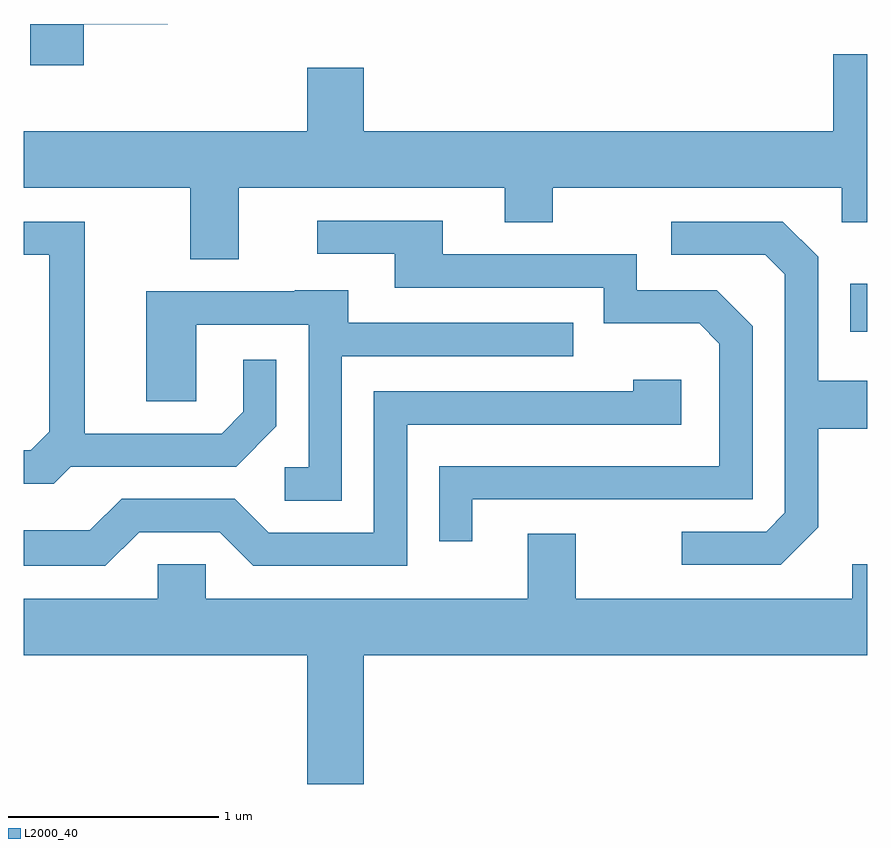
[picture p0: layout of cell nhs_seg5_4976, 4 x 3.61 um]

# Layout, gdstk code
import gdstk
lib = gdstk.Library(unit=1e-6, precision=1e-09)
def R(c, l, rs):  # rectangles x0, y0, x1, y1
    for r in rs: c.add(gdstk.rectangle(r[:2], r[2:], *l))
def P(c, l, *ps):  # polygons
    for p in ps: c.add(gdstk.Polygon(p, *l))
L2000_40 = (2000, 40)

nhs_seg5_4976 = lib.new_cell('nhs_seg5_4976')
R(nhs_seg5_4976, L2000_40, [(337.531,1400.611,337.611,1400.839)])
P(nhs_seg5_4976, L2000_40, [(333.894,1402.071),(334.294,1402.071),(334.294,1402.072),(333.641,1402.072),(333.641,1401.876),(333.894,1401.876)],
  [(334.629,1401.296),(335.891,1401.296),(335.891,1401.131),(336.119,1401.131),(336.119,1401.296),(337.491,1401.296),(337.491,1401.131),(337.611,1401.131),(337.611,1401.928),(337.451,1401.928),(337.451,1401.564),(335.224,1401.564),(335.224,1401.864),(334.956,1401.864),(334.956,1401.564),(333.611,1401.564),(333.611,1401.296),(334.401,1401.296),(334.401,1400.956),(334.629,1400.956)],
  [(335.739,1399.816),(337.069,1399.816),(337.069,1400.637),(336.897,1400.809),(336.519,1400.809),(336.519,1400.979),(335.599,1400.979),(335.599,1401.139),(335.003,1401.139),(335.003,1400.981),(335.371,1400.981),(335.371,1400.821),(336.361,1400.821),(336.361,1400.651),(336.814,1400.651),(336.911,1400.554),(336.911,1399.974),(335.581,1399.974),(335.581,1399.618),(335.739,1399.618)],
  [(333.832,1399.971),(334.617,1399.971),(334.809,1400.164),(334.809,1400.478),(334.651,1400.478),(334.651,1400.232),(334.549,1400.129),(333.899,1400.129),(333.899,1401.134),(333.611,1401.134),(333.611,1400.976),(333.731,1400.976),(333.731,1400.137),(333.644,1400.049),(333.611,1400.049),(333.611,1399.891),(333.752,1399.891)],
  [(337.379,1399.684),(337.379,1400.151),(337.611,1400.151),(337.611,1400.379),(337.379,1400.379),(337.379,1400.967),(337.212,1401.134),(336.683,1401.134),(336.683,1400.976),(337.129,1400.976),(337.221,1400.884),(337.221,1399.752),(337.134,1399.664),(336.733,1399.664),(336.733,1399.506),(337.202,1399.506)],
  [(335.119,1400.496),(336.218,1400.496),(336.218,1400.654),(335.149,1400.654),(335.149,1400.809),(334.895,1400.809),(334.895,1400.804),(334.191,1400.804),(334.191,1400.281),(334.429,1400.281),(334.429,1400.646),(334.961,1400.646),(334.961,1399.969),(334.848,1399.969),(334.848,1399.811),(335.119,1399.811)],
  [(334.157,1399.661),(334.539,1399.661),(334.699,1399.501),(335.429,1399.501),(335.429,1400.171),(336.729,1400.171),(336.729,1400.384),(336.501,1400.384),(336.501,1400.329),(335.271,1400.329),(335.271,1399.659),(334.772,1399.659),(334.612,1399.819),(334.074,1399.819),(333.924,1399.669),(333.611,1399.669),(333.611,1399.501),(333.997,1399.501)],
  [(335.224,1399.076),(337.611,1399.076),(337.611,1399.509),(337.541,1399.509),(337.541,1399.344),(336.229,1399.344),(336.229,1399.654),(336.001,1399.654),(336.001,1399.344),(334.474,1399.344),(334.474,1399.509),(334.246,1399.509),(334.246,1399.344),(333.611,1399.344),(333.611,1399.076),(334.956,1399.076),(334.956,1398.466),(335.224,1398.466)])

lib.write_gds('nhs_seg5_4976.gds')
